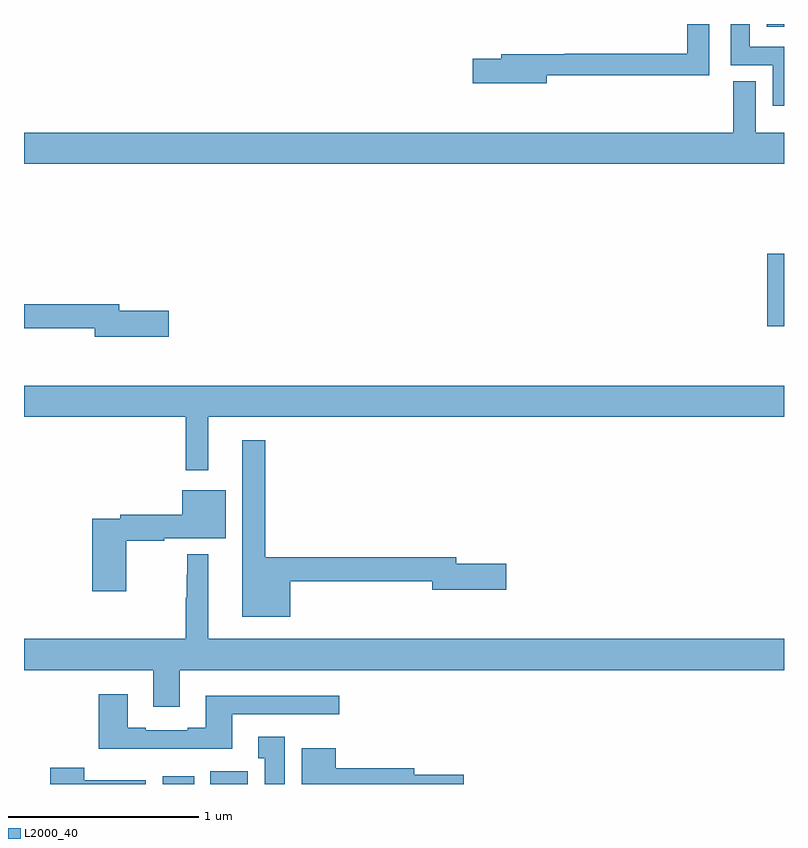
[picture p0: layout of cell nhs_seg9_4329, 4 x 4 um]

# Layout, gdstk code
import gdstk
lib = gdstk.Library(unit=1e-6, precision=1e-09)
def R(c, l, rs):  # rectangles x0, y0, x1, y1
    for r in rs: c.add(gdstk.rectangle(r[:2], r[2:], *l))
def P(c, l, *ps):  # polygons
    for p in ps: c.add(gdstk.Polygon(p, *l))
L2000_40 = (2000, 40)

nhs_seg9_4329 = lib.new_cell('nhs_seg9_4329')
R(nhs_seg9_4329, L2000_40, [(359.729,1182.5,359.896,1182.541), (359.981,1182.5,360.178,1182.568), (362.912,1184.91,363,1185.292), (362.909,1186.485,363,1186.5)])
P(nhs_seg9_4329, L2000_40, [(361.75,1186.23),(362.607,1186.23),(362.607,1186.5),(362.491,1186.5),(362.491,1186.343),(361.846,1186.343),(361.846,1186.34),(361.511,1186.34),(361.511,1186.317),(361.362,1186.317),(361.362,1186.187),(361.75,1186.187)],
  [(363,1186.38),(362.821,1186.38),(362.821,1186.5),(362.72,1186.5),(362.72,1186.284),(362.94,1186.284),(362.94,1186.07),(363,1186.07)],
  [(363,1185.928),(362.851,1185.928),(362.851,1186.199),(362.733,1186.199),(362.733,1185.928),(359,1185.928),(359,1185.764),(363,1185.764)],
  [(359.761,1184.99),(359.5,1184.99),(359.5,1185.026),(359,1185.026),(359,1184.898),(359.372,1184.898),(359.372,1184.855),(359.761,1184.855)],
  [(359.971,1184.432),(363,1184.432),(363,1184.596),(359,1184.596),(359,1184.432),(359.85,1184.432),(359.85,1184.151),(359.971,1184.151)],
  [(360.4,1183.566),(361.148,1183.566),(361.148,1183.523),(361.537,1183.523),(361.537,1183.658),(361.276,1183.658),(361.276,1183.694),(360.271,1183.694),(360.271,1184.308),(360.149,1184.308),(360.149,1183.379),(360.4,1183.379)],
  [(359.538,1183.78),(359.738,1183.78),(359.738,1183.793),(360.061,1183.793),(360.061,1184.047),(359.834,1184.047),(359.834,1183.916),(359.506,1183.916),(359.506,1183.896),(359.36,1183.896),(359.36,1183.515),(359.538,1183.515)],
  [(359.821,1183.1),(363,1183.1),(363,1183.264),(359.971,1183.264),(359.971,1183.708),(359.86,1183.708),(359.86,1183.601),(359.857,1183.601),(359.857,1183.481),(359.85,1183.481),(359.85,1183.264),(359,1183.264),(359,1183.1),(359.681,1183.1),(359.681,1182.906),(359.821,1182.906)],
  [(360.097,1182.867),(360.658,1182.867),(360.658,1182.964),(359.957,1182.964),(359.957,1182.796),(359.861,1182.796),(359.861,1182.783),(359.641,1182.783),(359.641,1182.796),(359.545,1182.796),(359.545,1182.973),(359.393,1182.973),(359.393,1182.686),(360.097,1182.686)],
  [(360.373,1182.748),(360.233,1182.748),(360.233,1182.635),(360.266,1182.635),(360.266,1182.5),(360.373,1182.5)],
  [(361.315,1182.548),(361.054,1182.548),(361.054,1182.584),(360.64,1182.584),(360.64,1182.688),(360.461,1182.688),(360.461,1182.5),(361.315,1182.5)],
  [(359.641,1182.52),(359.316,1182.52),(359.316,1182.586),(359.138,1182.586),(359.138,1182.5),(359.641,1182.5)])

lib.write_gds('nhs_seg9_4329.gds')
